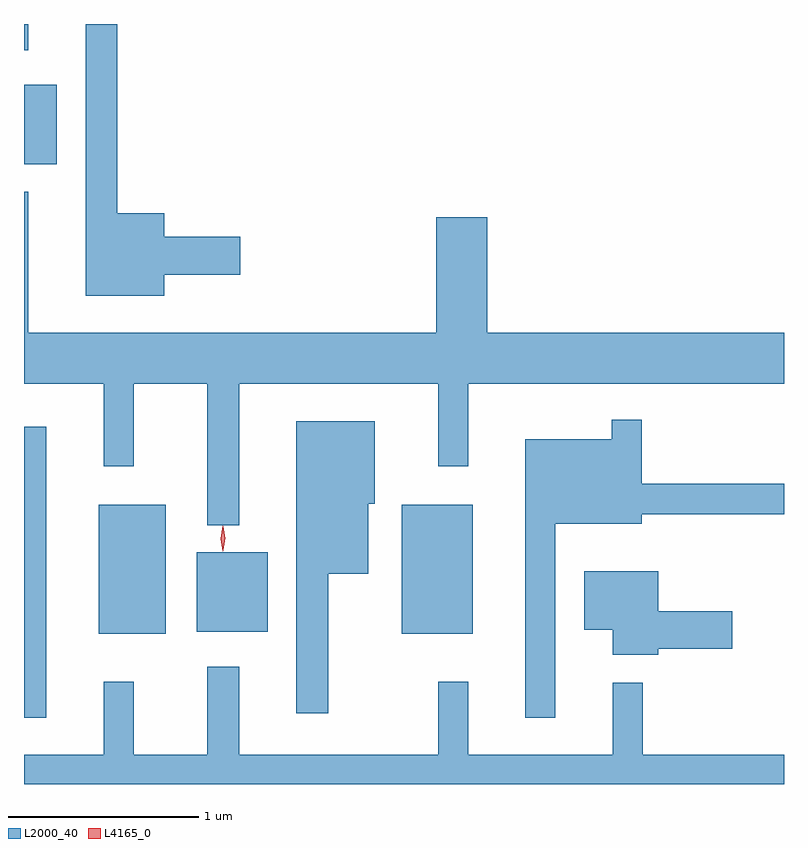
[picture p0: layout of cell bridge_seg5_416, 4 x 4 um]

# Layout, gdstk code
import gdstk
lib = gdstk.Library(unit=1e-6, precision=1e-09)
def R(c, l, rs):  # rectangles x0, y0, x1, y1
    for r in rs: c.add(gdstk.rectangle(r[:2], r[2:], *l))
def P(c, l, *ps):  # polygons
    for p in ps: c.add(gdstk.Polygon(p, *l))
L2000_40 = (2000, 40)
L4165_0 = (4165, 0)

bridge_seg5_416 = lib.new_cell('bridge_seg5_416')
R(bridge_seg5_416, L2000_40, [(312.807,1499.438,312.924,1500.969), (313.201,1499.881,313.554,1500.559), (314.796,1499.881,315.169,1500.559), (313.716,1499.891,314.089,1500.309), (312.807,1502.351,312.979,1502.769), (312.807,1502.953,312.829,1503.09)])
P(bridge_seg5_416, L2000_40, [(313.544,1501.771),(313.944,1501.771),(313.944,1501.969),(313.544,1501.969),(313.544,1502.094),(313.299,1502.094),(313.299,1503.09),(313.131,1503.09),(313.131,1501.661),(313.544,1501.661)],
  [(313.939,1501.196),(314.986,1501.196),(314.986,1500.763),(315.144,1500.763),(315.144,1501.196),(316.807,1501.196),(316.807,1501.464),(315.244,1501.464),(315.244,1502.074),(314.976,1502.074),(314.976,1501.464),(312.829,1501.464),(312.829,1502.208),(312.807,1502.208),(312.807,1501.196),(313.226,1501.196),(313.226,1500.763),(313.384,1500.763),(313.384,1501.196),(313.771,1501.196),(313.771,1500.453),(313.939,1500.453)],
  [(315.604,1500.461),(316.059,1500.461),(316.059,1500.511),(316.807,1500.511),(316.807,1500.669),(316.059,1500.669),(316.059,1501.008),(315.901,1501.008),(315.901,1500.904),(315.446,1500.904),(315.446,1499.438),(315.604,1499.438)],
  [(314.409,1500.196),(314.619,1500.196),(314.619,1500.566),(314.654,1500.566),(314.654,1500.999),(314.241,1500.999),(314.241,1499.463),(314.409,1499.463)],
  [(316.144,1499.801),(316.534,1499.801),(316.534,1499.999),(316.144,1499.999),(316.144,1500.209),(315.756,1500.209),(315.756,1499.901),(315.906,1499.901),(315.906,1499.771),(316.144,1499.771)],
  [(316.807,1499.244),(316.064,1499.244),(316.064,1499.623),(315.906,1499.623),(315.906,1499.244),(315.144,1499.244),(315.144,1499.628),(314.986,1499.628),(314.986,1499.244),(313.939,1499.244),(313.939,1499.708),(313.771,1499.708),(313.771,1499.244),(313.384,1499.244),(313.384,1499.628),(313.226,1499.628),(313.226,1499.244),(312.807,1499.244),(312.807,1499.09),(316.807,1499.09)])
P(bridge_seg5_416, L4165_0, [(313.852,1500.314),(313.843,1500.382),(313.852,1500.45),(313.853,1500.45),(313.853,1500.45),(313.863,1500.382),(313.853,1500.314),(313.853,1500.314)],
  [(313.855,1500.318),(313.855,1500.319),(313.845,1500.383),(313.855,1500.447),(313.855,1500.447),(313.856,1500.447),(313.865,1500.383),(313.856,1500.319)])

lib.write_gds('bridge_seg5_416.gds')
